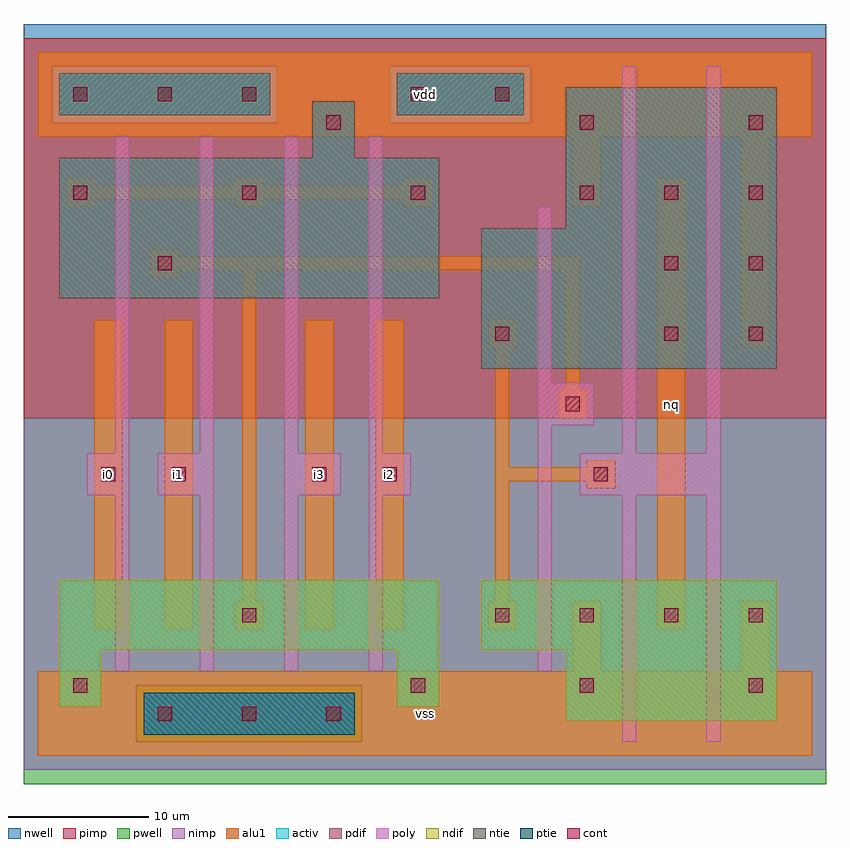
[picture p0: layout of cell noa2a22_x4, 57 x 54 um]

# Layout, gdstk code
import gdstk
lib = gdstk.Library(unit=1e-6, precision=1e-09)
def R(c, l, rs):  # rectangles x0, y0, x1, y1
    for r in rs: c.add(gdstk.rectangle(r[:2], r[2:], *l))
def A(c, l, x, y, w, h, nx, ny, dx, dy):  # array of equal rectangles
    R(c, l, [(x+i*dx, y+j*dy, x+i*dx+w, y+j*dy+h) for i in range(nx) for j in range(ny)])
ndif = (3, 0)
pdif = (4, 0)
ntie = (5, 0)
ptie = (6, 0)
cont = (25, 0)
pwell = (41, 0)
nwell = (42, 0)
activ = (43, 0)
pimp = (44, 0)
nimp = (45, 0)
poly = (46, 0)
alu1 = (49, 0)

noa2a22_x4 = lib.new_cell('noa2a22_x4')
R(noa2a22_x4, ndif, [(37.5,2.5,52.5,7.5), (1.5,3.5,4.5,7.5), (25.5,3.5,28.5,7.5), (1.5,7.5,28.5,12.5), (31.5,7.5,52.5,12.5)])
R(noa2a22_x4, pdif, [(31.5,27.5,52.5,37.5), (1.5,32.5,28.5,42.5), (37.5,37.5,52.5,47.5), (19.5,42.5,22.5,46.5)])
R(noa2a22_x4, ntie, [(1.5,45.5,16.5,48.5), (25.5,45.5,34.5,48.5)])
R(noa2a22_x4, ptie, [(7.5,1.5,22.5,4.5)])
A(noa2a22_x4, cont, 8.5, 2.5, 1, 1, 3, 1, 6, 0)
A(noa2a22_x4, cont, 26.5, 4.5, 1, 1, 3, 1, 12, 0)
A(noa2a22_x4, cont, 32.5, 9.5, 1, 1, 4, 1, 6, 0)
A(noa2a22_x4, cont, 44.5, 29.5, 1, 1, 1, 3, 0, 5)
A(noa2a22_x4, cont, 50.5, 29.5, 1, 1, 1, 4, 0, 5)
A(noa2a22_x4, cont, 2.5, 39.5, 1, 1, 4, 1, 12, 0)
A(noa2a22_x4, cont, 2.5, 46.5, 1, 1, 3, 1, 6, 0)
R(noa2a22_x4, cont, [(2.5,4.5,3.5,5.5), (14.5,9.5,15.5,10.5), (4.5,19.5,5.5,20.5), (9.5,19.5,10.5,20.5), (19.5,19.5,20.5,20.5), (24.5,19.5,25.5,20.5), (39.5,19.5,40.5,20.5), (37.5,24.5,38.5,25.5), (32.5,29.5,33.5,30.5), (8.5,34.5,9.5,35.5), (20.5,44.5,21.5,45.5), (38.5,44.5,39.5,45.5), (26.5,46.5,27.5,47.5), (32.5,46.5,33.5,47.5)])
R(noa2a22_x4, pwell, [(-1,-2,56,24)])
R(noa2a22_x4, nwell, [(-1,24,56,52)])
R(noa2a22_x4, activ, [(7.5,1.5,22.5,4.5), (37.5,2.5,52.5,7.5), (1.5,3.5,4.5,7.5), (25.5,3.5,28.5,7.5), (1.5,7.5,28.5,12.5), (31.5,7.5,52.5,12.5), (31.5,27.5,52.5,37.5), (1.5,32.5,28.5,42.5), (37.5,37.5,52.5,47.5), (19.5,42.5,22.5,46.5), (1.5,45.5,16.5,48.5), (25.5,45.5,34.5,48.5)])
R(noa2a22_x4, pimp, [(7,1,23,5), (-1,24,56,45), (-1,45,1,49), (17,45,25,49), (35,45,56,49), (-1,49,56,51)])
R(noa2a22_x4, nimp, [(-1,-1,56,1), (-1,1,7,5), (23,1,56,5), (-1,5,56,24), (1,45,17,49), (25,45,35,49)])
A(noa2a22_x4, poly, 5.5, 6, 1, 12.5, 4, 1, 6, 0)
A(noa2a22_x4, poly, 5.5, 21.5, 1, 22.5, 4, 1, 6, 0)
R(noa2a22_x4, poly, [(41.5,1,42.5,18.5), (47.5,1,48.5,18.5), (35.5,6,36.5,23.5), (3.5,18.5,6.5,21.5), (8.5,18.5,12.5,21.5), (17.5,18.5,21.5,21.5), (23.5,18.5,26.5,21.5), (38.5,18.5,48.5,21.5), (41.5,21.5,42.5,49), (47.5,21.5,48.5,49), (35.5,23.5,39.5,26.5), (35.5,26.5,36.5,39)])
A(noa2a22_x4, alu1, 2, 39, 2, 0.5, 3, 2, 12, 1.5)
R(noa2a22_x4, alu1, [(0,0,55,6), (38,6,40,11), (50,6,52,11), (4,9,6,31), (9,9,11,31), (14,9,16,11), (19,9,21,31), (24,9,26,31), (32,9,34,11), (44,9,46,41), (14.5,11,15.5,34.5), (32.5,11,33.5,19.5), (39,19,41,19.5), (32.5,19.5,41,20.5), (32.5,20.5,33.5,29), (39,20.5,41,21), (37,24,39,26), (37.5,26,38.5,34.5), (32,29,34,31), (50,29,52,44), (8,34,10,34.5), (8,34.5,38.5,35.5), (8,35.5,10,36), (38,39,40,44), (2,39.5,28,40.5), (0,44,55,50)])
noa2a22_x4.add(gdstk.Label('i0', (5,20), layer=49, texttype=0))
noa2a22_x4.add(gdstk.Label('i1', (10,20), layer=49, texttype=0))
noa2a22_x4.add(gdstk.Label('vss', (27.5,3), layer=49, texttype=0))
noa2a22_x4.add(gdstk.Label('i2', (25,20), layer=49, texttype=0))
noa2a22_x4.add(gdstk.Label('i3', (20,20), layer=49, texttype=0))
noa2a22_x4.add(gdstk.Label('vdd', (27.5,47), layer=49, texttype=0))
noa2a22_x4.add(gdstk.Label('nq', (45,25), layer=49, texttype=0))

lib.write_gds('noa2a22_x4.gds')
